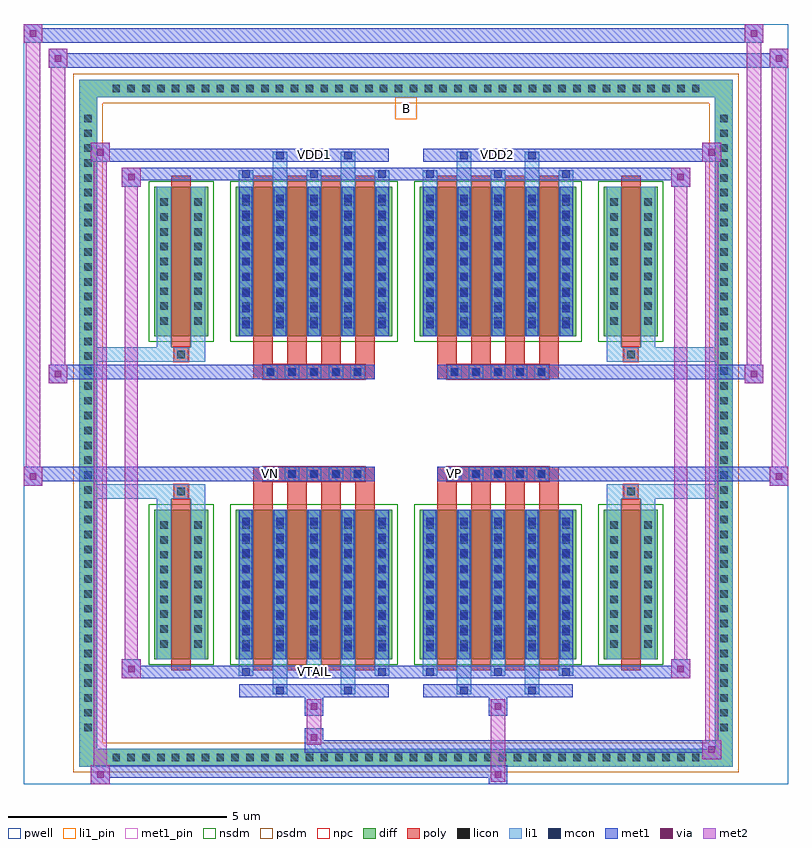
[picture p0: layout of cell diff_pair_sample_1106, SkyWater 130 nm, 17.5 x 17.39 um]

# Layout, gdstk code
import gdstk
lib = gdstk.Library(unit=1e-6, precision=5e-09)
def R(c, l, rs):  # rectangles x0, y0, x1, y1
    for r in rs: c.add(gdstk.rectangle(r[:2], r[2:], *l))
def A(c, l, x, y, w, h, nx, ny, dx, dy):  # array of equal rectangles
    R(c, l, [(x+i*dx, y+j*dy, x+i*dx+w, y+j*dy+h) for i in range(nx) for j in range(ny)])
def P(c, l, *ps):  # polygons
    for p in ps: c.add(gdstk.Polygon(p, *l))
pwell = (64, 44)
diff = (65, 20)
poly = (66, 20)
licon = (66, 44)
li1_pin = (67, 16)
li1 = (67, 20)
mcon = (67, 44)
met1_pin = (68, 16)
met1 = (68, 20)
via = (68, 44)
met2 = (69, 20)
nsdm = (93, 44)
psdm = (94, 20)
npc = (95, 20)

diff_pair_sample_1106 = lib.new_cell('diff_pair_sample_1106')
R(diff_pair_sample_1106, pwell, [(-8.75,-8.26,8.75,9.13), (-6.07,-6.45,-0.01,-0.805), (0.01,-6.45,6.07,-0.805), (-6.07,0.805,-0.01,6.45), (0.01,0.805,6.07,6.45)])
A(diff_pair_sample_1106, diff, -6.835, -7.86, 0.41, 0.41, 40, 2, 0.34, 15.31)
A(diff_pair_sample_1106, diff, -7.48, -7.175, 0.41, 0.41, 1, 42, 0, 0.34)
A(diff_pair_sample_1106, diff, 7.07, -7.175, 0.41, 0.41, 1, 42, 0, 0.34)
R(diff_pair_sample_1106, diff, [(-6.835,-7.86,6.835,-7.45), (-7.48,-7.175,-7.07,7.175), (7.07,-7.175,7.48,7.175), (-5.76,-5.405,-4.53,-1.985), (-3.89,-5.405,-0.32,-1.985), (0.32,-5.405,3.89,-1.985), (4.53,-5.405,5.76,-1.985), (-5.76,1.985,-4.53,5.405), (-3.89,1.985,-0.32,5.405), (0.32,1.985,3.89,5.405), (4.53,1.985,5.76,5.405), (-6.835,7.45,6.835,7.86)])
P(diff_pair_sample_1106, diff, [(7.48,7.86),(-7.48,7.86),(-7.48,-7.45),(-7.07,-7.45),(-7.07,7.45),(7.07,7.45),(7.07,-7.45),(-7.07,-7.45),(-7.48,-7.45),(-7.48,-7.86),(7.48,-7.86)])
A(diff_pair_sample_1106, poly, -3.5, -5.655, 0.45, 3.92, 4, 2, 0.78, 7.39)
A(diff_pair_sample_1106, poly, 0.71, -5.655, 0.45, 3.92, 4, 2, 0.78, 7.39)
A(diff_pair_sample_1106, poly, -3.5, -1.735, 0.45, 0.4, 4, 2, 0.78, 3.07)
A(diff_pair_sample_1106, poly, 0.71, -1.735, 0.45, 0.4, 4, 2, 0.78, 3.07)
A(diff_pair_sample_1106, poly, -3.27, -1.335, 0.33, 0.33, 5, 2, 0.5, 2.34)
A(diff_pair_sample_1106, poly, 0.94, -1.335, 0.33, 0.33, 5, 2, 0.5, 2.34)
R(diff_pair_sample_1106, poly, [(-5.37,-5.655,-4.92,-1.735), (4.92,-5.655,5.37,-1.735), (-5.31,-1.735,-4.98,-1.405), (-5.31,-1.735,-4.98,-1.405), (4.98,-1.735,5.31,-1.405), (4.98,-1.735,5.31,-1.405), (-3.5,-1.335,-0.71,-1.005), (0.71,-1.335,3.5,-1.005), (-3.5,1.005,-0.71,1.335), (0.71,1.005,3.5,1.335), (-5.31,1.405,-4.98,1.735), (-5.31,1.405,-4.98,1.735), (4.98,1.405,5.31,1.735), (4.98,1.405,5.31,1.735), (-5.37,1.735,-4.92,5.655), (4.92,1.735,5.37,5.655)])
A(diff_pair_sample_1106, licon, -6.715, -7.74, 0.17, 0.17, 40, 2, 0.34, 15.31)
A(diff_pair_sample_1106, licon, -7.36, -7.055, 0.17, 0.17, 1, 42, 0, 0.34)
A(diff_pair_sample_1106, licon, 7.19, -7.055, 0.17, 0.17, 1, 42, 0, 0.34)
A(diff_pair_sample_1106, licon, -5.62, -5.14, 0.17, 0.17, 1, 9, 0, 0.34)
A(diff_pair_sample_1106, licon, -4.84, -5.14, 0.17, 0.17, 1, 9, 0, 0.34)
A(diff_pair_sample_1106, licon, -3.75, -5.14, 0.17, 0.17, 5, 9, 0.78, 0.34)
A(diff_pair_sample_1106, licon, 0.46, -5.14, 0.17, 0.17, 5, 9, 0.78, 0.34)
A(diff_pair_sample_1106, licon, 4.67, -5.14, 0.17, 0.17, 1, 9, 0, 0.34)
A(diff_pair_sample_1106, licon, 5.45, -5.14, 0.17, 0.17, 1, 9, 0, 0.34)
A(diff_pair_sample_1106, licon, -3.19, -1.255, 0.17, 0.17, 5, 2, 0.5, 2.34)
A(diff_pair_sample_1106, licon, 1.02, -1.255, 0.17, 0.17, 5, 2, 0.5, 2.34)
A(diff_pair_sample_1106, licon, -5.62, 2.25, 0.17, 0.17, 1, 9, 0, 0.34)
A(diff_pair_sample_1106, licon, -4.84, 2.25, 0.17, 0.17, 1, 9, 0, 0.34)
A(diff_pair_sample_1106, licon, -3.75, 2.25, 0.17, 0.17, 5, 9, 0.78, 0.34)
A(diff_pair_sample_1106, licon, 0.46, 2.25, 0.17, 0.17, 5, 9, 0.78, 0.34)
A(diff_pair_sample_1106, licon, 4.67, 2.25, 0.17, 0.17, 1, 9, 0, 0.34)
A(diff_pair_sample_1106, licon, 5.45, 2.25, 0.17, 0.17, 1, 9, 0, 0.34)
R(diff_pair_sample_1106, licon, [(-5.23,-1.655,-5.06,-1.485), (5.06,-1.655,5.23,-1.485), (-5.23,1.485,-5.06,1.655), (5.06,1.485,5.23,1.655)])
R(diff_pair_sample_1106, li1_pin, [(-0.25,6.95,0.25,7.45)])
A(diff_pair_sample_1106, li1, -6.795, -7.82, 0.33, 0.33, 40, 2, 0.34, 15.31)
A(diff_pair_sample_1106, li1, -7.44, -7.135, 0.33, 0.33, 1, 42, 0, 0.34)
A(diff_pair_sample_1106, li1, 7.11, -7.135, 0.33, 0.33, 1, 42, 0, 0.34)
A(diff_pair_sample_1106, li1, -3.83, -5.78, 0.33, 0.375, 3, 2, 1.56, 11.185)
A(diff_pair_sample_1106, li1, -3.75, -5.78, 0.17, 0.17, 3, 2, 1.56, 11.39)
A(diff_pair_sample_1106, li1, 0.38, -5.78, 0.33, 0.375, 3, 2, 1.56, 11.185)
A(diff_pair_sample_1106, li1, 0.46, -5.78, 0.17, 0.17, 3, 2, 1.56, 11.39)
A(diff_pair_sample_1106, li1, -3.83, -5.405, 0.33, 3.42, 5, 2, 0.78, 7.39)
A(diff_pair_sample_1106, li1, 0.38, -5.405, 0.33, 3.42, 5, 2, 0.78, 7.39)
A(diff_pair_sample_1106, li1, -5.7, -5.22, 0.33, 0.33, 1, 9, 0, 0.34)
A(diff_pair_sample_1106, li1, -4.92, -5.22, 0.33, 0.33, 1, 9, 0, 0.34)
A(diff_pair_sample_1106, li1, -3.83, -5.22, 0.33, 0.33, 5, 9, 0.78, 0.34)
A(diff_pair_sample_1106, li1, -3.75, -5.22, 0.17, 0.17, 5, 9, 0.78, 0.36)
A(diff_pair_sample_1106, li1, -3.75, -5.22, 0.17, 3.05, 5, 2, 0.78, 7.39)
A(diff_pair_sample_1106, li1, 0.38, -5.22, 0.33, 0.33, 5, 9, 0.78, 0.34)
A(diff_pair_sample_1106, li1, 0.46, -5.22, 0.17, 0.17, 5, 9, 0.78, 0.36)
A(diff_pair_sample_1106, li1, 0.46, -5.22, 0.17, 3.05, 5, 2, 0.78, 7.39)
A(diff_pair_sample_1106, li1, 4.59, -5.22, 0.33, 0.33, 1, 9, 0, 0.34)
A(diff_pair_sample_1106, li1, 5.37, -5.22, 0.33, 0.33, 1, 9, 0, 0.34)
A(diff_pair_sample_1106, li1, -3.27, -1.335, 0.33, 0.33, 5, 2, 0.5, 2.34)
A(diff_pair_sample_1106, li1, 0.94, -1.335, 0.33, 0.33, 5, 2, 0.5, 2.34)
A(diff_pair_sample_1106, li1, -5.7, 2.17, 0.33, 0.33, 1, 9, 0, 0.34)
A(diff_pair_sample_1106, li1, -4.92, 2.17, 0.33, 0.33, 1, 9, 0, 0.34)
A(diff_pair_sample_1106, li1, -3.83, 2.17, 0.33, 0.33, 5, 9, 0.78, 0.34)
A(diff_pair_sample_1106, li1, -3.75, 2.17, 0.17, 0.17, 5, 9, 0.78, 0.36)
A(diff_pair_sample_1106, li1, 0.38, 2.17, 0.33, 0.33, 5, 9, 0.78, 0.34)
A(diff_pair_sample_1106, li1, 0.46, 2.17, 0.17, 0.17, 5, 9, 0.78, 0.36)
A(diff_pair_sample_1106, li1, 4.59, 2.17, 0.33, 0.33, 1, 9, 0, 0.34)
A(diff_pair_sample_1106, li1, 5.37, 2.17, 0.33, 0.33, 1, 9, 0, 0.34)
R(diff_pair_sample_1106, li1, [(-7.48,-7.86,-7.07,-7.45), (-7.48,-7.86,-7.07,-7.45), (-7.07,-7.86,7.07,-7.45), (7.07,-7.86,7.48,-7.45), (7.07,-7.86,7.48,-7.45), (-7.48,-7.45,-7.07,7.45), (7.07,-7.45,7.48,7.45), (-3.05,-6.21,-2.72,-5.405), (-2.97,-6.21,-2.8,-6.04), (-1.49,-6.21,-1.16,-5.405), (-1.41,-6.21,-1.24,-6.04), (1.16,-6.21,1.49,-5.405), (1.24,-6.21,1.41,-6.04), (2.72,-6.21,3.05,-5.405), (2.8,-6.21,2.97,-6.04), (-5.7,-5.405,-5.37,-1.985), (-4.92,-5.405,-4.59,-1.985), (4.59,-5.405,4.92,-1.985), (5.37,-5.405,5.7,-1.985), (-5.7,-1.985,-5.37,-1.405), (-4.92,-1.985,-4.59,-1.405), (4.59,-1.985,4.92,-1.405), (5.37,-1.985,5.7,-1.405), (-7.48,-1.735,-5.31,-1.405), (-5.7,-1.735,-5.31,-1.405), (-5.31,-1.735,-4.98,-1.405), (-4.98,-1.735,-4.59,-1.405), (4.59,-1.735,4.98,-1.405), (4.98,-1.735,5.31,-1.405), (4.98,-1.735,7.48,-1.405), (5.31,-1.735,5.7,-1.405), (-7.48,1.405,-5.31,1.735), (-5.7,1.405,-5.31,1.735), (-5.7,1.405,-5.37,1.985), (-5.31,1.405,-4.98,1.735), (-4.98,1.405,-4.59,1.735), (-4.92,1.405,-4.59,1.985), (4.59,1.405,4.98,1.735), (4.59,1.405,4.92,1.985), (4.98,1.405,5.31,1.735), (4.98,1.405,7.48,1.735), (5.31,1.405,5.7,1.735), (5.37,1.405,5.7,1.985), (-5.7,1.985,-5.37,5.405), (-4.92,1.985,-4.59,5.405), (4.59,1.985,4.92,5.405), (5.37,1.985,5.7,5.405), (-3.05,5.405,-2.72,6.21), (-1.49,5.405,-1.16,6.21), (1.16,5.405,1.49,6.21), (2.72,5.405,3.05,6.21), (-2.97,6.04,-2.8,6.21), (-1.41,6.04,-1.24,6.21), (1.24,6.04,1.41,6.21), (2.8,6.04,2.97,6.21), (-7.48,7.45,-7.07,7.86), (-7.48,7.45,-7.07,7.86), (-7.07,7.45,7.07,7.86), (7.07,7.45,7.48,7.86), (7.07,7.45,7.48,7.86)])
A(diff_pair_sample_1106, mcon, -3.75, -5.78, 0.17, 0.17, 3, 2, 1.56, 11.39)
A(diff_pair_sample_1106, mcon, 0.46, -5.78, 0.17, 0.17, 3, 2, 1.56, 11.39)
A(diff_pair_sample_1106, mcon, -3.75, -5.22, 0.17, 0.17, 5, 9, 0.78, 0.36)
A(diff_pair_sample_1106, mcon, 0.46, -5.22, 0.17, 0.17, 5, 9, 0.78, 0.36)
A(diff_pair_sample_1106, mcon, -3.19, -1.255, 0.17, 0.17, 5, 2, 0.5, 2.34)
A(diff_pair_sample_1106, mcon, 1.02, -1.255, 0.17, 0.17, 5, 2, 0.5, 2.34)
A(diff_pair_sample_1106, mcon, -3.75, 2.17, 0.17, 0.17, 5, 9, 0.78, 0.36)
A(diff_pair_sample_1106, mcon, 0.46, 2.17, 0.17, 0.17, 5, 9, 0.78, 0.36)
R(diff_pair_sample_1106, mcon, [(-2.97,-6.21,-2.8,-6.04), (-1.41,-6.21,-1.24,-6.04), (1.24,-6.21,1.41,-6.04), (2.8,-6.21,2.97,-6.04), (-2.97,6.04,-2.8,6.21), (-1.41,6.04,-1.24,6.21), (1.24,6.04,1.41,6.21), (2.8,6.04,2.97,6.21)])
R(diff_pair_sample_1106, met1_pin, [(-2.24,-5.82,-1.97,-5.55), (-3.24,-1.295,-2.97,-1.025), (0.97,-1.295,1.24,-1.025), (-2.24,6,-1.97,6.27), (1.97,6,2.24,6.27)])
A(diff_pair_sample_1106, met1, -3.81, -5.84, 0.29, 0.29, 3, 2, 1.56, 11.39)
A(diff_pair_sample_1106, met1, 0.4, -5.84, 0.29, 0.29, 3, 2, 1.56, 11.39)
A(diff_pair_sample_1106, met1, -3.81, -5.405, 0.29, 3.42, 5, 2, 0.78, 7.39)
A(diff_pair_sample_1106, met1, 0.4, -5.405, 0.29, 3.42, 5, 2, 0.78, 7.39)
A(diff_pair_sample_1106, met1, -3.81, -5.28, 0.29, 0.29, 5, 9, 0.78, 0.36)
A(diff_pair_sample_1106, met1, 0.4, -5.28, 0.29, 0.29, 5, 9, 0.78, 0.36)
A(diff_pair_sample_1106, met1, -3.25, -1.315, 0.29, 0.29, 5, 2, 0.5, 2.34)
A(diff_pair_sample_1106, met1, 0.96, -1.315, 0.29, 0.29, 5, 2, 0.5, 2.34)
A(diff_pair_sample_1106, met1, -3.81, 2.11, 0.29, 0.29, 5, 9, 0.78, 0.36)
A(diff_pair_sample_1106, met1, 0.4, 2.11, 0.29, 0.29, 5, 9, 0.78, 0.36)
R(diff_pair_sample_1106, met1, [(-7.21,-8.26,-6.78,-7.83), (1.89,-8.26,2.32,-7.83), (-7.21,-8.12,2.32,-7.83), (6.78,-7.69,7.21,-7.26), (-2.32,-7.55,7.21,-7.26), (-2.32,-7.41,-1.89,-6.98), (-2.32,-6.7,-1.89,-6.27), (1.89,-6.7,2.32,-6.27), (-3.81,-6.27,-0.4,-5.98), (-3.03,-6.27,-2.74,-5.98), (-1.47,-6.27,-1.18,-5.98), (0.4,-6.27,3.81,-5.98), (1.18,-6.27,1.47,-5.98), (2.74,-6.27,3.03,-5.98), (-6.5,-5.84,-6.07,-5.41), (-6.5,-5.84,-3.81,-5.55), (-3.81,-5.84,-0.4,-5.55), (-0.4,-5.84,0.4,-5.55), (0.4,-5.84,3.81,-5.55), (3.81,-5.84,6.5,-5.55), (6.07,-5.84,6.5,-5.41), (-8.75,-1.435,-8.32,-1.005), (8.32,-1.435,8.75,-1.005), (-8.75,-1.335,-0.71,-1.005), (-3.5,-1.335,-0.71,-1.005), (0.71,-1.335,3.5,-1.005), (0.71,-1.335,8.75,-1.005), (-8.18,0.905,-7.75,1.335), (7.75,0.905,8.18,1.335), (-8.18,1.005,-3.5,1.335), (-3.5,1.005,-0.71,1.335), (0.71,1.005,3.5,1.335), (3.5,1.005,8.18,1.335), (-6.5,5.41,-6.07,5.84), (6.07,5.41,6.5,5.84), (-6.5,5.55,-3.81,5.84), (-3.81,5.55,-0.4,5.84), (-0.4,5.55,0.4,5.84), (0.4,5.55,3.81,5.84), (3.81,5.55,6.5,5.84), (-7.21,5.98,-6.78,6.41), (-7.21,5.98,-3.81,6.27), (-3.81,5.98,-0.4,6.27), (-3.03,5.98,-2.74,6.27), (-1.47,5.98,-1.18,6.27), (0.4,5.98,3.81,6.27), (1.18,5.98,1.47,6.27), (2.74,5.98,3.03,6.27), (3.81,5.98,7.21,6.27), (6.78,5.98,7.21,6.41), (-8.18,8.13,-7.75,8.56), (-8.18,8.13,-6.07,8.46), (-6.07,8.13,6.07,8.46), (6.07,8.13,8.75,8.46), (8.32,8.13,8.75,8.56), (-8.75,8.7,-8.32,9.13), (-8.75,8.7,-6.07,9.03), (-6.07,8.7,6.07,9.03), (6.07,8.7,8.18,9.03), (7.75,8.7,8.18,9.13)])
R(diff_pair_sample_1106, via, [(-7.07,-8.12,-6.92,-7.97), (2.03,-8.12,2.18,-7.97), (6.92,-7.55,7.07,-7.4), (-2.18,-7.27,-2.03,-7.12), (-2.18,-6.56,-2.03,-6.41), (2.03,-6.56,2.18,-6.41), (-6.36,-5.7,-6.21,-5.55), (6.21,-5.7,6.36,-5.55), (-8.61,-1.295,-8.46,-1.145), (8.46,-1.295,8.61,-1.145), (-8.04,1.045,-7.89,1.195), (7.89,1.045,8.04,1.195), (-6.36,5.55,-6.21,5.7), (6.21,5.55,6.36,5.7), (-7.07,6.12,-6.92,6.27), (6.92,6.12,7.07,6.27), (-8.04,8.27,-7.89,8.42), (8.46,8.27,8.61,8.42), (-8.61,8.84,-8.46,8.99), (7.89,8.84,8.04,8.99)])
R(diff_pair_sample_1106, met2, [(-7.21,-8.26,-6.78,-7.83), (-7.14,-8.26,-6.85,6.41), (-6.85,-8.26,-6.78,-7.83), (-7.16,-8.21,-6.83,-7.88), (1.94,-8.21,2.27,-7.88), (1.94,-7.88,2.27,-6.65), (6.78,-7.69,7.21,-7.26), (6.85,-7.69,7.14,6.41), (7.14,-7.69,7.21,-7.26), (6.83,-7.64,7.16,-7.31), (-2.27,-7.36,-1.94,-7.03), (-2.27,-7.03,-1.94,-6.65), (-2.27,-6.65,-1.94,-6.32), (1.94,-6.65,2.27,-6.32), (-6.5,-5.84,-6.07,-5.41), (-6.43,-5.84,-6.14,5.84), (-6.14,-5.84,-6.07,-5.41), (6.07,-5.84,6.5,-5.41), (6.14,-5.84,6.43,5.84), (6.43,-5.84,6.5,-5.41), (-6.45,-5.79,-6.12,-5.46), (6.12,-5.79,6.45,-5.46), (-8.75,-1.435,-8.32,-1.005), (-8.7,-1.435,-8.37,9.13), (-8.37,-1.435,-8.32,-1.005), (8.32,-1.435,8.75,-1.005), (8.37,-1.435,8.7,8.56), (8.7,-1.435,8.75,-1.005), (-8.7,-1.385,-8.37,-1.055), (8.37,-1.385,8.7,-1.055), (-8.18,0.905,-7.75,1.335), (-8.13,0.905,-7.8,8.56), (-7.8,0.905,-7.75,1.335), (7.75,0.905,8.18,1.335), (7.8,0.905,8.13,9.13), (8.13,0.905,8.18,1.335), (-8.13,0.955,-7.8,1.285), (7.8,0.955,8.13,1.285), (-6.5,5.41,-6.07,5.84), (-6.14,5.41,-6.07,5.84), (6.07,5.41,6.5,5.84), (6.43,5.41,6.5,5.84), (-6.45,5.46,-6.12,5.79), (6.12,5.46,6.45,5.79), (-7.21,5.98,-6.78,6.41), (-6.85,5.98,-6.78,6.41), (6.78,5.98,7.21,6.41), (7.14,5.98,7.21,6.41), (-7.16,6.03,-6.83,6.36), (6.83,6.03,7.16,6.36), (-8.18,8.13,-7.75,8.56), (-7.8,8.13,-7.75,8.56), (8.32,8.13,8.75,8.56), (8.7,8.13,8.75,8.56), (-8.13,8.18,-7.8,8.51), (8.37,8.18,8.7,8.51), (-8.75,8.7,-8.32,9.13), (-8.37,8.7,-8.32,9.13), (7.75,8.7,8.18,9.13), (8.13,8.7,8.18,9.13), (-8.7,8.75,-8.37,9.08), (7.8,8.75,8.13,9.08)])
R(diff_pair_sample_1106, nsdm, [(-5.89,-5.535,-4.4,-1.855), (-4.02,-5.535,-0.19,-1.855), (0.19,-5.535,4.02,-1.855), (4.4,-5.535,5.89,-1.855), (-5.89,1.855,-4.4,5.535), (-4.02,1.855,-0.19,5.535), (0.19,1.855,4.02,5.535), (4.4,1.855,5.89,5.535)])
P(diff_pair_sample_1106, psdm, [(7.61,7.99),(-7.61,7.99),(-7.61,-7.32),(-6.94,-7.32),(-6.94,7.32),(6.94,7.32),(6.94,-7.32),(-6.94,-7.32),(-7.61,-7.32),(-7.61,-7.99),(7.61,-7.99)])
A(diff_pair_sample_1106, npc, -3.29, -1.355, 0.37, 0.37, 5, 2, 0.5, 2.34)
A(diff_pair_sample_1106, npc, 0.92, -1.355, 0.37, 0.37, 5, 2, 0.5, 2.34)
R(diff_pair_sample_1106, npc, [(-5.33,-1.755,-4.96,-1.385), (4.96,-1.755,5.33,-1.385), (-3.29,-1.355,-2.42,-0.985), (-3.29,-1.355,-2.42,-0.985), (-2.79,-1.355,-1.92,-0.985), (-2.79,-1.355,-1.92,-0.985), (-2.29,-1.355,-1.42,-0.985), (-2.29,-1.355,-1.42,-0.985), (-1.79,-1.355,-0.92,-0.985), (-1.79,-1.355,-0.92,-0.985), (0.92,-1.355,1.79,-0.985), (0.92,-1.355,1.79,-0.985), (1.42,-1.355,2.29,-0.985), (1.42,-1.355,2.29,-0.985), (1.92,-1.355,2.79,-0.985), (1.92,-1.355,2.79,-0.985), (2.42,-1.355,3.29,-0.985), (2.42,-1.355,3.29,-0.985), (-3.29,0.985,-2.42,1.355), (-3.29,0.985,-2.42,1.355), (-2.79,0.985,-1.92,1.355), (-2.79,0.985,-1.92,1.355), (-2.29,0.985,-1.42,1.355), (-2.29,0.985,-1.42,1.355), (-1.79,0.985,-0.92,1.355), (-1.79,0.985,-0.92,1.355), (0.92,0.985,1.79,1.355), (0.92,0.985,1.79,1.355), (1.42,0.985,2.29,1.355), (1.42,0.985,2.29,1.355), (1.92,0.985,2.79,1.355), (1.92,0.985,2.79,1.355), (2.42,0.985,3.29,1.355), (2.42,0.985,3.29,1.355), (-5.33,1.385,-4.96,1.755), (4.96,1.385,5.33,1.755)])
diff_pair_sample_1106.add(gdstk.Label('VTAIL', (-2.105,-5.685), layer=68, texttype=5))
diff_pair_sample_1106.add(gdstk.Label('VN', (-3.105,-1.16), layer=68, texttype=5))
diff_pair_sample_1106.add(gdstk.Label('VP', (1.105,-1.16), layer=68, texttype=5))
diff_pair_sample_1106.add(gdstk.Label('B', (0,7.2), layer=67, texttype=5))
diff_pair_sample_1106.add(gdstk.Label('VDD2', (2.105,6.135), layer=68, texttype=5))
diff_pair_sample_1106.add(gdstk.Label('VDD1', (-2.105,6.135), layer=68, texttype=5))

lib.write_gds('diff_pair_sample_1106.gds')
